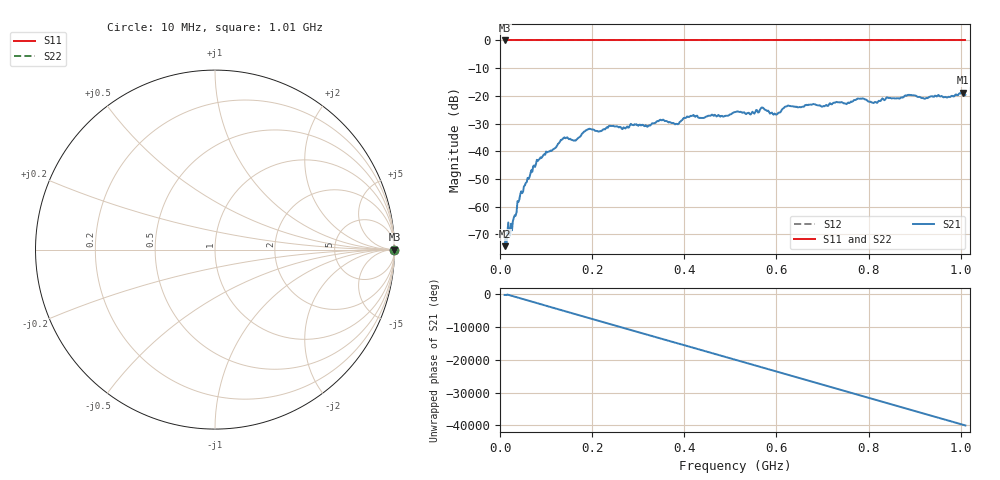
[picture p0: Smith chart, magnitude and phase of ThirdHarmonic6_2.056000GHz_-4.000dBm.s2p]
! 8/17/2025 12:38:25 AM
! C:\ANRITSUVNA\TEMP\TEMP.S2P
! CHANNEL.1
! TR.MEASUREMENT
! RAW.DATA
! RF.CORRECTION.OFF
! AVERAGING.OFF
! IF.BANDWIDTH: 5KHZ
! SWEEPTYPE:  FREQ.SWEEP(Linear)
! Reference Plane Port Info
! PORT:  PORT1  PORT2
! DISTANCE:  0  m  0  m
! TIME:  0  s  0  s
! PHASE.OFFSET:  0  deg.  0  deg.
! LOSS:  0  dB  0  dB
! REF.LOSS:  0  dB  0  dB
! REF.FREQ:  0  Hz  0  Hz
! Power Info
! POWER:  -20  dBm  -20  dBm
! EFF.POWER:  -20  dBm  -20  dBm
! SOURCE.ATTEN:  0  dB  0  dB
! TEST.ATTEN:  0  dB  0  dB
# GHZ S RI R 50.0
! FREQ.GHZ  S11RE  S11IM  S21RE  S21IM  S12RE  S12IM  S22RE  S22IM
!; PortSelection: Port_12
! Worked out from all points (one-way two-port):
!   501 points, 10 MHz to 1.01 GHz, reference 50 ohm
!   highest |S21| = -18.88 dB at 1.004 GHz (marker M1); lowest = -74.3 dB at 10 MHz (marker M2)
!   lowest |S11| = 0.0 dB at 10 MHz (marker M3)
!   |S11| at or under -10 dB: nowhere
!   |S22| runs from 0.0 to 0.0 dB; largest |S21 - S12| = 1.1
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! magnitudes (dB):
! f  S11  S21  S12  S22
! 10 MHz  0.0  -74.3  0.0  0.0
! 24 MHz  0.0  -66.2  0.0  0.0
! 42 MHz  0.0  -57.4  0.0  0.0
! 76 MHz  0.0  -45.7  0.0  0.0
! 136 MHz  0.0  -35.6  0.0  0.0
! 162 MHz  0.0  -36.1  0.0  0.0
! 178 MHz  0.0  -33.7  0.0  0.0
! 194 MHz  0.0  -31.9  0.0  0.0
! 322 MHz  0.0  -30.8  0.0  0.0
! 344 MHz  0.0  -29.1  0.0  0.0
! 384 MHz  0.0  -30.1  0.0  0.0
! 416 MHz  0.0  -27.3  0.0  0.0
! 510 MHz  0.0  -25.9  0.0  0.0
! 570 MHz  0.0  -24.2  0.0  0.0
! 598 MHz  0.0  -26.7  0.0  0.0
! 622 MHz  0.0  -23.8  0.0  0.0
! 678 MHz  0.0  -23.1  0.0  0.0
! 780 MHz  0.0  -21.1  0.0  0.0
! 814 MHz  0.0  -22.2  0.0  0.0
! 844 MHz  0.0  -20.8  0.0  0.0
! 1.004 GHz  0.0  -18.9  0.0  0.0
! 1.01 GHz  0.0  -19.6  0.0  0.0
